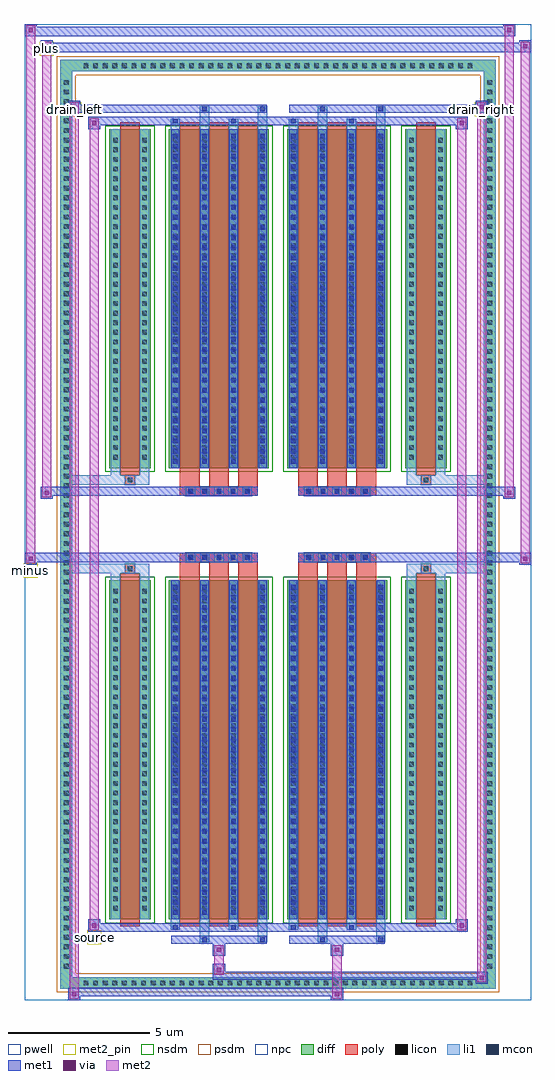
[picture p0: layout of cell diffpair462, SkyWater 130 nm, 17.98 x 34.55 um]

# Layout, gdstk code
import gdstk
lib = gdstk.Library(unit=1e-6, precision=5e-09)
def R(c, l, rs):  # rectangles x0, y0, x1, y1
    for r in rs: c.add(gdstk.rectangle(r[:2], r[2:], *l))
def A(c, l, x, y, w, h, nx, ny, dx, dy):  # array of equal rectangles
    R(c, l, [(x+i*dx, y+j*dy, x+i*dx+w, y+j*dy+h) for i in range(nx) for j in range(ny)])
def P(c, l, *ps):  # polygons
    for p in ps: c.add(gdstk.Polygon(p, *l))
pwell = (64, 44)
diff = (65, 20)
poly = (66, 20)
licon = (66, 44)
li1 = (67, 20)
mcon = (67, 44)
met1 = (68, 20)
via = (68, 44)
met2_pin = (69, 16)
met2 = (69, 20)
nsdm = (93, 44)
psdm = (94, 20)
npc = (95, 20)

diffpair462 = lib.new_cell('diffpair462')
R(diffpair462, pwell, [(-8.97,-16.84,8.97,17.71), (-6.29,-15.03,-0.01,-0.805), (0.01,-15.03,6.29,-0.805), (-6.29,0.805,-0.01,15.03), (0.01,0.805,6.29,15.03)])
A(diffpair462, diff, -7.005, -16.44, 0.41, 0.41, 41, 2, 0.34, 32.47)
A(diffpair462, diff, -7.7, -15.845, 0.41, 0.41, 1, 93, 0, 0.34)
A(diffpair462, diff, 7.29, -15.845, 0.41, 0.41, 1, 93, 0, 0.34)
R(diffpair462, diff, [(-7.005,-16.44,7.005,-16.03), (-7.7,-15.845,-7.29,15.845), (7.29,-15.845,7.7,15.845), (-5.98,-13.985,-4.5,-1.985), (-3.86,-13.985,-0.32,-1.985), (0.32,-13.985,3.86,-1.985), (4.5,-13.985,5.98,-1.985), (-5.98,1.985,-4.5,13.985), (-3.86,1.985,-0.32,13.985), (0.32,1.985,3.86,13.985), (4.5,1.985,5.98,13.985), (-7.005,16.03,7.005,16.44)])
P(diffpair462, diff, [(7.7,16.44),(-7.7,16.44),(-7.7,-16.03),(-7.29,-16.03),(-7.29,16.03),(7.29,16.03),(7.29,-16.03),(-7.29,-16.03),(-7.7,-16.03),(-7.7,-16.44),(7.7,-16.44)])
A(diffpair462, poly, -3.47, -14.235, 0.7, 12.5, 3, 2, 1.03, 15.97)
A(diffpair462, poly, 0.71, -14.235, 0.7, 12.5, 3, 2, 1.03, 15.97)
A(diffpair462, poly, -3.47, -1.735, 0.7, 0.4, 3, 2, 1.03, 3.07)
A(diffpair462, poly, 0.71, -1.735, 0.7, 0.4, 3, 2, 1.03, 3.07)
A(diffpair462, poly, -3.255, -1.335, 0.33, 0.33, 5, 2, 0.5, 2.34)
A(diffpair462, poly, 0.925, -1.335, 0.33, 0.33, 5, 2, 0.5, 2.34)
R(diffpair462, poly, [(-5.59,-14.235,-4.89,-1.735), (4.89,-14.235,5.59,-1.735), (-5.405,-1.735,-5.075,-1.405), (-5.405,-1.735,-5.075,-1.405), (5.075,-1.735,5.405,-1.405), (5.075,-1.735,5.405,-1.405), (-3.47,-1.335,-0.71,-1.005), (0.71,-1.335,3.47,-1.005), (-3.47,1.005,-0.71,1.335), (0.71,1.005,3.47,1.335), (-5.405,1.405,-5.075,1.735), (-5.405,1.405,-5.075,1.735), (5.075,1.405,5.405,1.735), (5.075,1.405,5.405,1.735), (-5.59,1.735,-4.89,14.235), (4.89,1.735,5.59,14.235)])
A(diffpair462, licon, -6.885, -16.32, 0.17, 0.17, 41, 2, 0.34, 32.47)
A(diffpair462, licon, -7.58, -15.725, 0.17, 0.17, 1, 93, 0, 0.34)
A(diffpair462, licon, 7.41, -15.725, 0.17, 0.17, 1, 93, 0, 0.34)
A(diffpair462, licon, -5.84, -13.68, 0.17, 0.17, 1, 34, 0, 0.34)
A(diffpair462, licon, -4.81, -13.68, 0.17, 0.17, 1, 34, 0, 0.34)
A(diffpair462, licon, -3.72, -13.68, 0.17, 0.17, 4, 34, 1.03, 0.34)
A(diffpair462, licon, 0.46, -13.68, 0.17, 0.17, 4, 34, 1.03, 0.34)
A(diffpair462, licon, 4.64, -13.68, 0.17, 0.17, 1, 34, 0, 0.34)
A(diffpair462, licon, 5.67, -13.68, 0.17, 0.17, 1, 34, 0, 0.34)
A(diffpair462, licon, -3.175, -1.255, 0.17, 0.17, 5, 2, 0.5, 2.34)
A(diffpair462, licon, 1.005, -1.255, 0.17, 0.17, 5, 2, 0.5, 2.34)
A(diffpair462, licon, -5.84, 2.29, 0.17, 0.17, 1, 34, 0, 0.34)
A(diffpair462, licon, -4.81, 2.29, 0.17, 0.17, 1, 34, 0, 0.34)
A(diffpair462, licon, -3.72, 2.29, 0.17, 0.17, 4, 34, 1.03, 0.34)
A(diffpair462, licon, 0.46, 2.29, 0.17, 0.17, 4, 34, 1.03, 0.34)
A(diffpair462, licon, 4.64, 2.29, 0.17, 0.17, 1, 34, 0, 0.34)
A(diffpair462, licon, 5.67, 2.29, 0.17, 0.17, 1, 34, 0, 0.34)
R(diffpair462, licon, [(-5.325,-1.655,-5.155,-1.485), (5.155,-1.655,5.325,-1.485), (-5.325,1.485,-5.155,1.655), (5.155,1.485,5.325,1.655)])
A(diffpair462, li1, -6.965, -16.4, 0.33, 0.33, 41, 2, 0.34, 32.47)
A(diffpair462, li1, -7.66, -15.805, 0.33, 0.33, 1, 93, 0, 0.34)
A(diffpair462, li1, 7.33, -15.805, 0.33, 0.33, 1, 93, 0, 0.34)
A(diffpair462, li1, -3.8, -13.985, 0.33, 12, 4, 2, 1.03, 15.97)
A(diffpair462, li1, 0.38, -13.985, 0.33, 12, 4, 2, 1.03, 15.97)
A(diffpair462, li1, -3.72, -13.83, 0.17, 0.17, 4, 33, 1.03, 0.36)
A(diffpair462, li1, -3.72, -13.83, 0.17, 11.69, 4, 2, 1.03, 15.97)
A(diffpair462, li1, 0.46, -13.83, 0.17, 0.17, 4, 33, 1.03, 0.36)
A(diffpair462, li1, 0.46, -13.83, 0.17, 11.69, 4, 2, 1.03, 15.97)
A(diffpair462, li1, -5.92, -13.76, 0.33, 0.33, 1, 34, 0, 0.34)
A(diffpair462, li1, -4.89, -13.76, 0.33, 0.33, 1, 34, 0, 0.34)
A(diffpair462, li1, -3.8, -13.76, 0.33, 0.33, 4, 34, 1.03, 0.34)
A(diffpair462, li1, 0.38, -13.76, 0.33, 0.33, 4, 34, 1.03, 0.34)
A(diffpair462, li1, 4.56, -13.76, 0.33, 0.33, 1, 34, 0, 0.34)
A(diffpair462, li1, 5.59, -13.76, 0.33, 0.33, 1, 34, 0, 0.34)
A(diffpair462, li1, -3.255, -1.335, 0.33, 0.33, 5, 2, 0.5, 2.34)
A(diffpair462, li1, 0.925, -1.335, 0.33, 0.33, 5, 2, 0.5, 2.34)
A(diffpair462, li1, -3.72, 2.14, 0.17, 0.17, 4, 33, 1.03, 0.36)
A(diffpair462, li1, 0.46, 2.14, 0.17, 0.17, 4, 33, 1.03, 0.36)
A(diffpair462, li1, -5.92, 2.21, 0.33, 0.33, 1, 34, 0, 0.34)
A(diffpair462, li1, -4.89, 2.21, 0.33, 0.33, 1, 34, 0, 0.34)
A(diffpair462, li1, -3.8, 2.21, 0.33, 0.33, 4, 34, 1.03, 0.34)
A(diffpair462, li1, 0.38, 2.21, 0.33, 0.33, 4, 34, 1.03, 0.34)
A(diffpair462, li1, 4.56, 2.21, 0.33, 0.33, 1, 34, 0, 0.34)
A(diffpair462, li1, 5.59, 2.21, 0.33, 0.33, 1, 34, 0, 0.34)
R(diffpair462, li1, [(-7.7,-16.44,-7.29,-16.03), (-7.7,-16.44,-7.29,-16.03), (-7.29,-16.44,7.29,-16.03), (7.29,-16.44,7.7,-16.03), (7.29,-16.44,7.7,-16.03), (-7.7,-16.03,-7.29,16.03), (7.29,-16.03,7.7,16.03), (-2.77,-14.79,-2.44,-13.985), (-2.69,-14.79,-2.52,-14.62), (-0.71,-14.79,-0.38,-13.985), (-0.63,-14.79,-0.46,-14.62), (1.41,-14.79,1.74,-13.985), (1.49,-14.79,1.66,-14.62), (3.47,-14.79,3.8,-13.985), (3.55,-14.79,3.72,-14.62), (-3.8,-14.36,-3.47,-13.985), (-3.72,-14.36,-3.55,-14.19), (-1.74,-14.36,-1.41,-13.985), (-1.66,-14.36,-1.49,-14.19), (0.38,-14.36,0.71,-13.985), (0.46,-14.36,0.63,-14.19), (2.44,-14.36,2.77,-13.985), (2.52,-14.36,2.69,-14.19), (-5.92,-13.985,-5.59,-1.985), (-4.89,-13.985,-4.56,-1.985), (4.56,-13.985,4.89,-1.985), (5.59,-13.985,5.92,-1.985), (-5.92,-1.985,-5.59,-1.405), (-4.89,-1.985,-4.56,-1.405), (4.56,-1.985,4.89,-1.405), (5.59,-1.985,5.92,-1.405), (-7.7,-1.735,-5.405,-1.405), (-5.92,-1.735,-5.405,-1.405), (-5.405,-1.735,-5.075,-1.405), (-5.075,-1.735,-4.56,-1.405), (4.56,-1.735,5.075,-1.405), (5.075,-1.735,5.405,-1.405), (5.075,-1.735,7.7,-1.405), (5.405,-1.735,5.92,-1.405), (-7.7,1.405,-5.405,1.735), (-5.92,1.405,-5.405,1.735), (-5.92,1.405,-5.59,1.985), (-5.405,1.405,-5.075,1.735), (-5.075,1.405,-4.56,1.735), (-4.89,1.405,-4.56,1.985), (4.56,1.405,5.075,1.735), (4.56,1.405,4.89,1.985), (5.075,1.405,5.405,1.735), (5.075,1.405,7.7,1.735), (5.405,1.405,5.92,1.735), (5.59,1.405,5.92,1.985), (-5.92,1.985,-5.59,13.985), (-4.89,1.985,-4.56,13.985), (4.56,1.985,4.89,13.985), (5.59,1.985,5.92,13.985), (-3.8,13.985,-3.47,14.36), (-2.77,13.985,-2.44,14.79), (-1.74,13.985,-1.41,14.36), (-0.71,13.985,-0.38,14.79), (0.38,13.985,0.71,14.36), (1.41,13.985,1.74,14.79), (2.44,13.985,2.77,14.36), (3.47,13.985,3.8,14.79), (-3.72,14.19,-3.55,14.36), (-1.66,14.19,-1.49,14.36), (0.46,14.19,0.63,14.36), (2.52,14.19,2.69,14.36), (-2.69,14.62,-2.52,14.79), (-0.63,14.62,-0.46,14.79), (1.49,14.62,1.66,14.79), (3.55,14.62,3.72,14.79), (-7.7,16.03,-7.29,16.44), (-7.7,16.03,-7.29,16.44), (-7.29,16.03,7.29,16.44), (7.29,16.03,7.7,16.44), (7.29,16.03,7.7,16.44)])
A(diffpair462, mcon, -3.72, -13.83, 0.17, 0.17, 4, 33, 1.03, 0.36)
A(diffpair462, mcon, 0.46, -13.83, 0.17, 0.17, 4, 33, 1.03, 0.36)
A(diffpair462, mcon, -3.175, -1.255, 0.17, 0.17, 5, 2, 0.5, 2.34)
A(diffpair462, mcon, 1.005, -1.255, 0.17, 0.17, 5, 2, 0.5, 2.34)
A(diffpair462, mcon, -3.72, 2.14, 0.17, 0.17, 4, 33, 1.03, 0.36)
A(diffpair462, mcon, 0.46, 2.14, 0.17, 0.17, 4, 33, 1.03, 0.36)
R(diffpair462, mcon, [(-2.69,-14.79,-2.52,-14.62), (-0.63,-14.79,-0.46,-14.62), (1.49,-14.79,1.66,-14.62), (3.55,-14.79,3.72,-14.62), (-3.72,-14.36,-3.55,-14.19), (-1.66,-14.36,-1.49,-14.19), (0.46,-14.36,0.63,-14.19), (2.52,-14.36,2.69,-14.19), (-3.72,14.19,-3.55,14.36), (-1.66,14.19,-1.49,14.36), (0.46,14.19,0.63,14.36), (2.52,14.19,2.69,14.36), (-2.69,14.62,-2.52,14.79), (-0.63,14.62,-0.46,14.79), (1.49,14.62,1.66,14.79), (3.55,14.62,3.72,14.79)])
A(diffpair462, met1, -3.78, -13.985, 0.29, 12, 4, 2, 1.03, 15.97)
A(diffpair462, met1, 0.4, -13.985, 0.29, 12, 4, 2, 1.03, 15.97)
A(diffpair462, met1, -3.78, -13.89, 0.29, 0.29, 4, 33, 1.03, 0.36)
A(diffpair462, met1, 0.4, -13.89, 0.29, 0.29, 4, 33, 1.03, 0.36)
A(diffpair462, met1, -3.235, -1.315, 0.29, 0.29, 5, 2, 0.5, 2.34)
A(diffpair462, met1, 0.945, -1.315, 0.29, 0.29, 5, 2, 0.5, 2.34)
A(diffpair462, met1, -3.78, 2.08, 0.29, 0.29, 4, 33, 1.03, 0.36)
A(diffpair462, met1, 0.4, 2.08, 0.29, 0.29, 4, 33, 1.03, 0.36)
R(diffpair462, met1, [(-7.43,-16.84,-7,-16.41), (1.875,-16.84,2.305,-16.41), (-7.43,-16.7,2.305,-16.41), (7,-16.27,7.43,-15.84), (-2.305,-16.13,7.43,-15.84), (-2.305,-15.99,-1.875,-15.56), (-2.305,-15.28,-1.875,-14.85), (1.875,-15.28,2.305,-14.85), (-3.78,-14.85,-0.4,-14.56), (-2.75,-14.85,-2.46,-14.56), (-0.69,-14.85,-0.4,-14.56), (0.4,-14.85,3.78,-14.56), (1.43,-14.85,1.72,-14.56), (3.49,-14.85,3.78,-14.56), (-6.72,-14.42,-6.29,-13.99), (-6.72,-14.42,-3.78,-14.13), (-3.78,-14.42,-3.49,-14.13), (-3.78,-14.42,-0.4,-14.13), (-1.72,-14.42,-1.43,-14.13), (-0.4,-14.42,0.4,-14.13), (0.4,-14.42,0.69,-14.13), (0.4,-14.42,3.78,-14.13), (2.46,-14.42,2.75,-14.13), (3.78,-14.42,6.72,-14.13), (6.29,-14.42,6.72,-13.99), (-8.97,-1.435,-8.54,-1.005), (8.54,-1.435,8.97,-1.005), (-8.97,-1.335,-0.71,-1.005), (-3.47,-1.335,-0.71,-1.005), (0.71,-1.335,3.47,-1.005), (0.71,-1.335,8.97,-1.005), (-8.4,0.905,-7.97,1.335), (7.97,0.905,8.4,1.335), (-8.4,1.005,-3.47,1.335), (-3.47,1.005,-0.71,1.335), (0.71,1.005,3.47,1.335), (3.47,1.005,8.4,1.335), (-6.72,13.99,-6.29,14.42), (6.29,13.99,6.72,14.42), (-6.72,14.13,-3.78,14.42), (-3.78,14.13,-3.49,14.42), (-3.78,14.13,-0.4,14.42), (-1.72,14.13,-1.43,14.42), (-0.4,14.13,0.4,14.42), (0.4,14.13,0.69,14.42), (0.4,14.13,3.78,14.42), (2.46,14.13,2.75,14.42), (3.78,14.13,6.72,14.42), (-7.43,14.56,-7,14.99), (-7.43,14.56,-3.78,14.85), (-3.78,14.56,-0.4,14.85), (-2.75,14.56,-2.46,14.85), (-0.69,14.56,-0.4,14.85), (0.4,14.56,3.78,14.85), (1.43,14.56,1.72,14.85), (3.49,14.56,3.78,14.85), (3.78,14.56,7.43,14.85), (7,14.56,7.43,14.99), (-8.4,16.71,-7.97,17.14), (-8.4,16.71,-6.29,17.04), (-6.29,16.71,6.29,17.04), (6.29,16.71,8.97,17.04), (8.54,16.71,8.97,17.14), (-8.97,17.28,-8.54,17.71), (-8.97,17.28,-6.29,17.61), (-6.29,17.28,6.29,17.61), (6.29,17.28,8.4,17.61), (7.97,17.28,8.4,17.71)])
R(diffpair462, via, [(-7.29,-16.7,-7.14,-16.55), (2.015,-16.7,2.165,-16.55), (7.14,-16.13,7.29,-15.98), (-2.165,-15.85,-2.015,-15.7), (-2.165,-15.14,-2.015,-14.99), (2.015,-15.14,2.165,-14.99), (-6.58,-14.28,-6.43,-14.13), (6.43,-14.28,6.58,-14.13), (-8.83,-1.295,-8.68,-1.145), (8.68,-1.295,8.83,-1.145), (-8.26,1.045,-8.11,1.195), (8.11,1.045,8.26,1.195), (-6.58,14.13,-6.43,14.28), (6.43,14.13,6.58,14.28), (-7.29,14.7,-7.14,14.85), (7.14,14.7,7.29,14.85), (-8.26,16.85,-8.11,17), (8.68,16.85,8.83,17), (-8.83,17.42,-8.68,17.57), (8.11,17.42,8.26,17.57)])
R(diffpair462, met2_pin, [(-6.755,-14.87,-6.255,-14.37), (-9.005,-1.885,-8.505,-1.385), (-7.465,14.44,-6.965,14.94), (6.965,14.44,7.465,14.94), (-8.435,16.59,-7.935,17.09)])
R(diffpair462, met2, [(-7.38,-16.79,-7.05,-16.46), (-7.38,-16.79,-7.05,14.94), (1.925,-16.79,2.255,-16.46), (1.925,-16.46,2.255,-15.23), (7.05,-16.22,7.38,-15.89), (7.05,-16.22,7.38,14.94), (-2.255,-15.94,-1.925,-15.61), (-2.255,-15.61,-1.925,-15.23), (-2.255,-15.23,-1.925,-14.9), (1.925,-15.23,2.255,-14.9), (-6.67,-14.37,-6.34,-14.04), (-6.67,-14.37,-6.34,14.37), (6.34,-14.37,6.67,-14.04), (6.34,-14.37,6.67,14.37), (-8.92,-1.385,-8.59,-1.055), (-8.92,-1.385,-8.59,17.66), (8.59,-1.385,8.92,-1.055), (8.59,-1.385,8.92,17.09), (-8.35,0.955,-8.02,1.285), (-8.35,0.955,-8.02,17.09), (8.02,0.955,8.35,1.285), (8.02,0.955,8.35,17.66), (-6.67,14.04,-6.34,14.37), (6.34,14.04,6.67,14.37), (-7.38,14.61,-7.05,14.94), (7.05,14.61,7.38,14.94), (-8.35,16.76,-8.02,17.09), (8.59,16.76,8.92,17.09), (-8.92,17.33,-8.59,17.66), (8.02,17.33,8.35,17.66)])
P(diffpair462, met2, [(8.92,-1.385),(8.92,-1.385),(8.92,-1.055),(8.92,-1.055)],
  [(8.92,16.76),(8.92,16.76),(8.92,17.09),(8.92,17.09)],
  [(-8.59,-1.385),(-8.59,-1.385),(-8.59,-1.055),(-8.59,-1.055)],
  [(-8.59,17.33),(-8.59,17.33),(-8.59,17.66),(-8.59,17.66)],
  [(8.35,0.955),(8.35,0.955),(8.35,1.285),(8.35,1.285)],
  [(8.35,17.33),(8.35,17.33),(8.35,17.66),(8.35,17.66)],
  [(-8.02,0.955),(-8.02,0.955),(-8.02,1.285),(-8.02,1.285)],
  [(-8.02,16.76),(-8.02,16.76),(-8.02,17.09),(-8.02,17.09)],
  [(-7.05,-16.79),(-7.05,-16.79),(-7.05,-16.46),(-7.05,-16.46)],
  [(-7.05,14.61),(-7.05,14.61),(-7.05,14.94),(-7.05,14.94)],
  [(7.38,-16.22),(7.38,-16.22),(7.38,-15.89),(7.38,-15.89)],
  [(7.38,14.61),(7.38,14.61),(7.38,14.94),(7.38,14.94)],
  [(-6.34,-14.37),(-6.34,-14.37),(-6.34,-14.04),(-6.34,-14.04)],
  [(-6.34,14.04),(-6.34,14.04),(-6.34,14.37),(-6.34,14.37)],
  [(6.67,-14.37),(6.67,-14.37),(6.67,-14.04),(6.67,-14.04)],
  [(6.67,14.04),(6.67,14.04),(6.67,14.37),(6.67,14.37)])
R(diffpair462, nsdm, [(-6.11,-14.115,-4.37,-1.855), (-3.99,-14.115,-0.19,-1.855), (0.19,-14.115,3.99,-1.855), (4.37,-14.115,6.11,-1.855), (-6.11,1.855,-4.37,14.115), (-3.99,1.855,-0.19,14.115), (0.19,1.855,3.99,14.115), (4.37,1.855,6.11,14.115)])
P(diffpair462, psdm, [(7.83,16.57),(-7.83,16.57),(-7.83,-15.9),(-7.16,-15.9),(-7.16,15.9),(7.16,15.9),(7.16,-15.9),(-7.16,-15.9),(-7.83,-15.9),(-7.83,-16.57),(7.83,-16.57)])
A(diffpair462, npc, -3.275, -1.355, 0.37, 0.37, 5, 2, 0.5, 2.34)
A(diffpair462, npc, 0.905, -1.355, 0.37, 0.37, 5, 2, 0.5, 2.34)
R(diffpair462, npc, [(-5.425,-1.755,-5.055,-1.385), (5.055,-1.755,5.425,-1.385), (-3.275,-1.355,-2.405,-0.985), (-3.275,-1.355,-2.405,-0.985), (-2.775,-1.355,-1.905,-0.985), (-2.775,-1.355,-1.905,-0.985), (-2.275,-1.355,-1.405,-0.985), (-2.275,-1.355,-1.405,-0.985), (-1.775,-1.355,-0.905,-0.985), (-1.775,-1.355,-0.905,-0.985), (0.905,-1.355,1.775,-0.985), (0.905,-1.355,1.775,-0.985), (1.405,-1.355,2.275,-0.985), (1.405,-1.355,2.275,-0.985), (1.905,-1.355,2.775,-0.985), (1.905,-1.355,2.775,-0.985), (2.405,-1.355,3.275,-0.985), (2.405,-1.355,3.275,-0.985), (-3.275,0.985,-2.405,1.355), (-3.275,0.985,-2.405,1.355), (-2.775,0.985,-1.905,1.355), (-2.775,0.985,-1.905,1.355), (-2.275,0.985,-1.405,1.355), (-2.275,0.985,-1.405,1.355), (-1.775,0.985,-0.905,1.355), (-1.775,0.985,-0.905,1.355), (0.905,0.985,1.775,1.355), (0.905,0.985,1.775,1.355), (1.405,0.985,2.275,1.355), (1.405,0.985,2.275,1.355), (1.905,0.985,2.775,1.355), (1.905,0.985,2.775,1.355), (2.405,0.985,3.275,1.355), (2.405,0.985,3.275,1.355), (-5.425,1.385,-5.055,1.755), (5.055,1.385,5.425,1.755)])
diffpair462.add(gdstk.Label('minus', (-8.755,-1.635), layer=69, texttype=5))
diffpair462.add(gdstk.Label('drain_right', (7.215,14.69), layer=69, texttype=5))
diffpair462.add(gdstk.Label('drain_left', (-7.215,14.69), layer=69, texttype=5))
diffpair462.add(gdstk.Label('source', (-6.505,-14.62), layer=69, texttype=5))
diffpair462.add(gdstk.Label('plus', (-8.185,16.84), layer=69, texttype=5))

lib.write_gds('diffpair462.gds')
